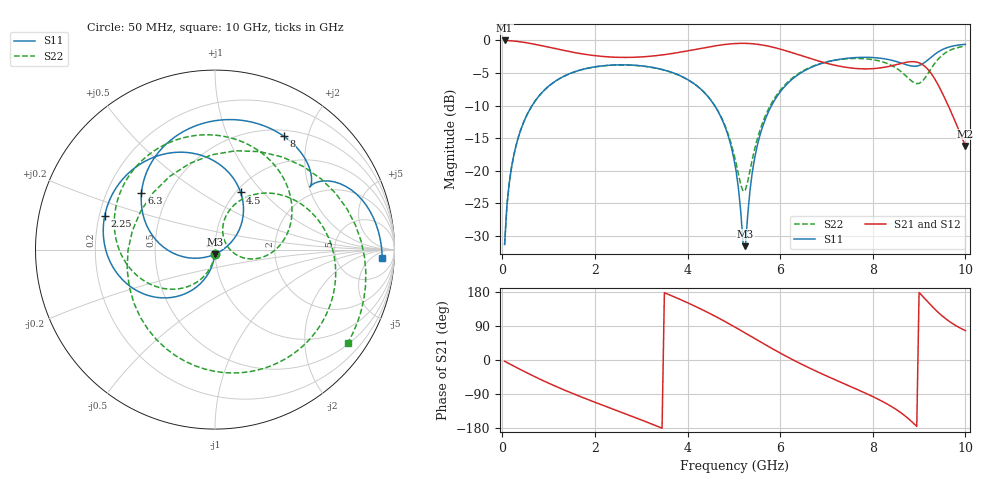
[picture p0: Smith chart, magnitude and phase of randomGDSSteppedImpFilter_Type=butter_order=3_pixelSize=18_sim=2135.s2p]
! freq	dB(S11)	phase(S11)	dB(S12)	phase(S12)
!  dB(S21)	phase(S21)	dB(S22)	phase(S22)
!S-par simulation data
#  GHz  S  DB  R 50
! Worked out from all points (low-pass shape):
!   200 points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, 50 MHz to 10 GHz, reference 50 ohm
!   highest |S21| = -0.01 dB at 50 MHz (marker M1); lowest = -16.2 dB at 10 GHz (marker M2)
!   |S21| within 3 dB of the highest: start of sweep to 6.757 GHz
!   lowest |S11| = -31.5 dB at 5.25 GHz (marker M3), VSWR 1.05, Z = 49.8 - j2.64 ohm
!   |S11| at or under -10 dB: start of sweep to 642.9 MHz; 4.584 GHz to 5.814 GHz (1.23 GHz wide, 23.7 % of centre)
!   |S22| runs from -31.3 to -0.9 dB; largest |S21 - S12| = 0
!   S11 on the Smith chart (normalised r, x): 50 MHz: 1.00, -0.05; 2.25 GHz: 0.22, +0.14; 4.5 GHz: 1.05, +0.76; 6.3 GHz: 0.35, +0.30; 8 GHz: 0.58, +1.62; 10 GHz: 20, -13
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0.05  -31.28 -92.8  -0.01 -3.3  -0.01 -3.3  -31.29 -93.6
0.2  -19.43 -102.0  -0.07 -13.0  -0.07 -13.0  -19.44 -104.9
0.5  -11.90 -118.9  -0.33 -31.9  -0.33 -31.9  -11.91 -126.0
1.05  -6.74 -146.9  -1.12 -63.9  -1.12 -63.9  -6.75 -162.0
1.75  -4.42 -177.4  -2.10 -99.6  -2.10 -99.6  -4.43 157.1
2.25  -3.84 163.0  -2.51 -123.2  -2.51 -123.2  -3.86 129.7
3.4  -4.37 118.6  -2.28 -177.4  -2.28 -177.4  -4.39 66.8
3.95  -5.80 94.4  -1.67 153.9  -1.67 153.9  -5.81 34.8
4.5  -9.14 65.9  -0.95 121.6  -0.95 121.6  -9.11 1.9
5.05  -20.09 24.4  -0.48 85.1  -0.48 85.1  -18.89 -12.2
5.25  -31.55 -91.8  -0.46 71.0  -0.46 71.0  -22.91 40.2
5.35  -22.90 -142.8  -0.49 63.8  -0.49 63.8  -19.89 64.7
5.55  -14.90 -167.0  -0.63 49.6  -0.63 49.6  -14.09 71.9
6.3  -5.72 142.3  -1.98 -1.1  -1.98 -1.1  -5.57 31.0
6.7  -4.05 120.0  -2.89 -25.1  -2.89 -25.1  -3.97 6.8
7.35  -2.83 87.7  -4.05 -60.9  -4.05 -60.9  -2.88 -30.5
8  -2.63 58.9  -4.33 -96.5  -4.33 -96.5  -2.95 -70.8
8.35  -2.95 45.0  -3.98 -118.9  -3.98 -118.9  -3.65 -99.8
8.85  -3.94 33.4  -3.26 -163.6  -3.26 -163.6  -6.29 -179.5
9.2  -2.94 32.4  -4.52 151.9  -4.52 151.9  -4.99 78.1
9.55  -1.26 18.7  -8.78 111.2  -8.78 111.2  -2.00 9.8
10  -0.60 -2.7  -16.20 77.4  -16.20 77.4  -0.88 -35.1
